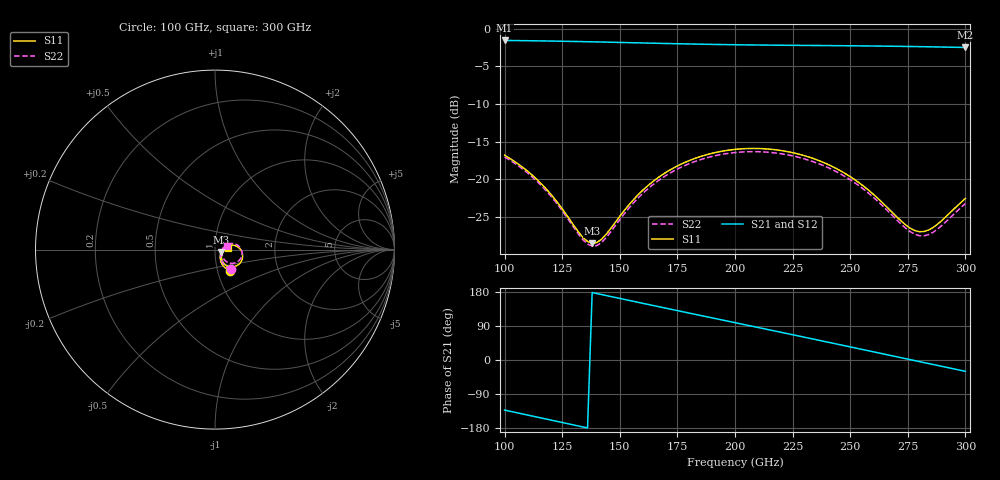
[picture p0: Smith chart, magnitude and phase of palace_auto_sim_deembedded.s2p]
! Created with skrf 1.11.0 (http://scikit-rf.org).
# GHz S DB R 50.0
!freq dBS11 angS11 dBS21 angS21 dBS12 angS12 dBS22 angS22
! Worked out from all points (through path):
!   101 points, 100 GHz to 300 GHz, reference 50 ohm
!   highest |S21| = -1.54 dB at 100 GHz (marker M1); lowest = -2.5 dB at 300 GHz (marker M2)
!   group delay of S21, straight-line fit = 3.57 ps
!   lowest |S11| = -28.5 dB at 138 GHz (marker M3), VSWR 1.08, Z = 53.5 - j1.71 ohm
!   |S11| at or under -10 dB: start of sweep to end of sweep
!   |S22| runs from -28.9 to -16.3 dB; largest |S21 - S12| = 8.9e-14
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100  -16.79 -54.5  -1.54 -132.2  -1.54 -132.2  -17.02 -51.2
108  -18.42 -60.3  -1.57 -142.7  -1.57 -142.7  -18.66 -56.7
116  -20.59 -63.9  -1.60 -153.2  -1.60 -153.2  -20.84 -60.0
126  -24.32 -60.8  -1.65 -166.3  -1.65 -166.3  -24.58 -56.7
134  -27.70 -42.3  -1.70 -176.7  -1.70 -176.7  -28.01 -38.2
138  -28.49 -25.0  -1.72 178.1  -1.72 178.1  -28.86 -20.8
142  -27.96 -7.4  -1.75 172.9  -1.75 172.9  -28.39 -2.7
152  -24.10 14.4  -1.82 159.9  -1.82 159.9  -24.54 20.1
160  -21.42 16.3  -1.87 149.6  -1.87 149.6  -21.84 22.5
168  -19.46 13.1  -1.93 139.3  -1.93 139.3  -19.88 19.7
184  -17.05 1.2  -2.03 118.9  -2.03 118.9  -17.47 8.5
200  -16.01 -13.4  -2.11 98.5  -2.11 98.5  -16.43 -5.3
208  -15.88 -20.9  -2.14 88.4  -2.14 88.4  -16.31 -12.6
216  -16.00 -28.5  -2.16 78.2  -2.16 78.2  -16.43 -19.8
224  -16.38 -35.8  -2.19 68.0  -2.19 68.0  -16.80 -26.8
234  -17.22 -44.4  -2.21 55.2  -2.21 55.2  -17.65 -35.0
252  -20.03 -56.1  -2.25 32.0  -2.25 32.0  -20.44 -46.2
268  -24.30 -53.1  -2.31 11.3  -2.31 11.3  -24.70 -43.1
276  -26.47 -38.3  -2.34 1.0  -2.34 1.0  -26.92 -28.7
282  -26.92 -20.8  -2.37 -6.7  -2.37 -6.7  -27.49 -11.1
288  -25.92 -5.1  -2.40 -14.5  -2.40 -14.5  -26.57 5.2
300  -22.53 7.6  -2.47 -29.9  -2.47 -29.9  -23.19 19.1
